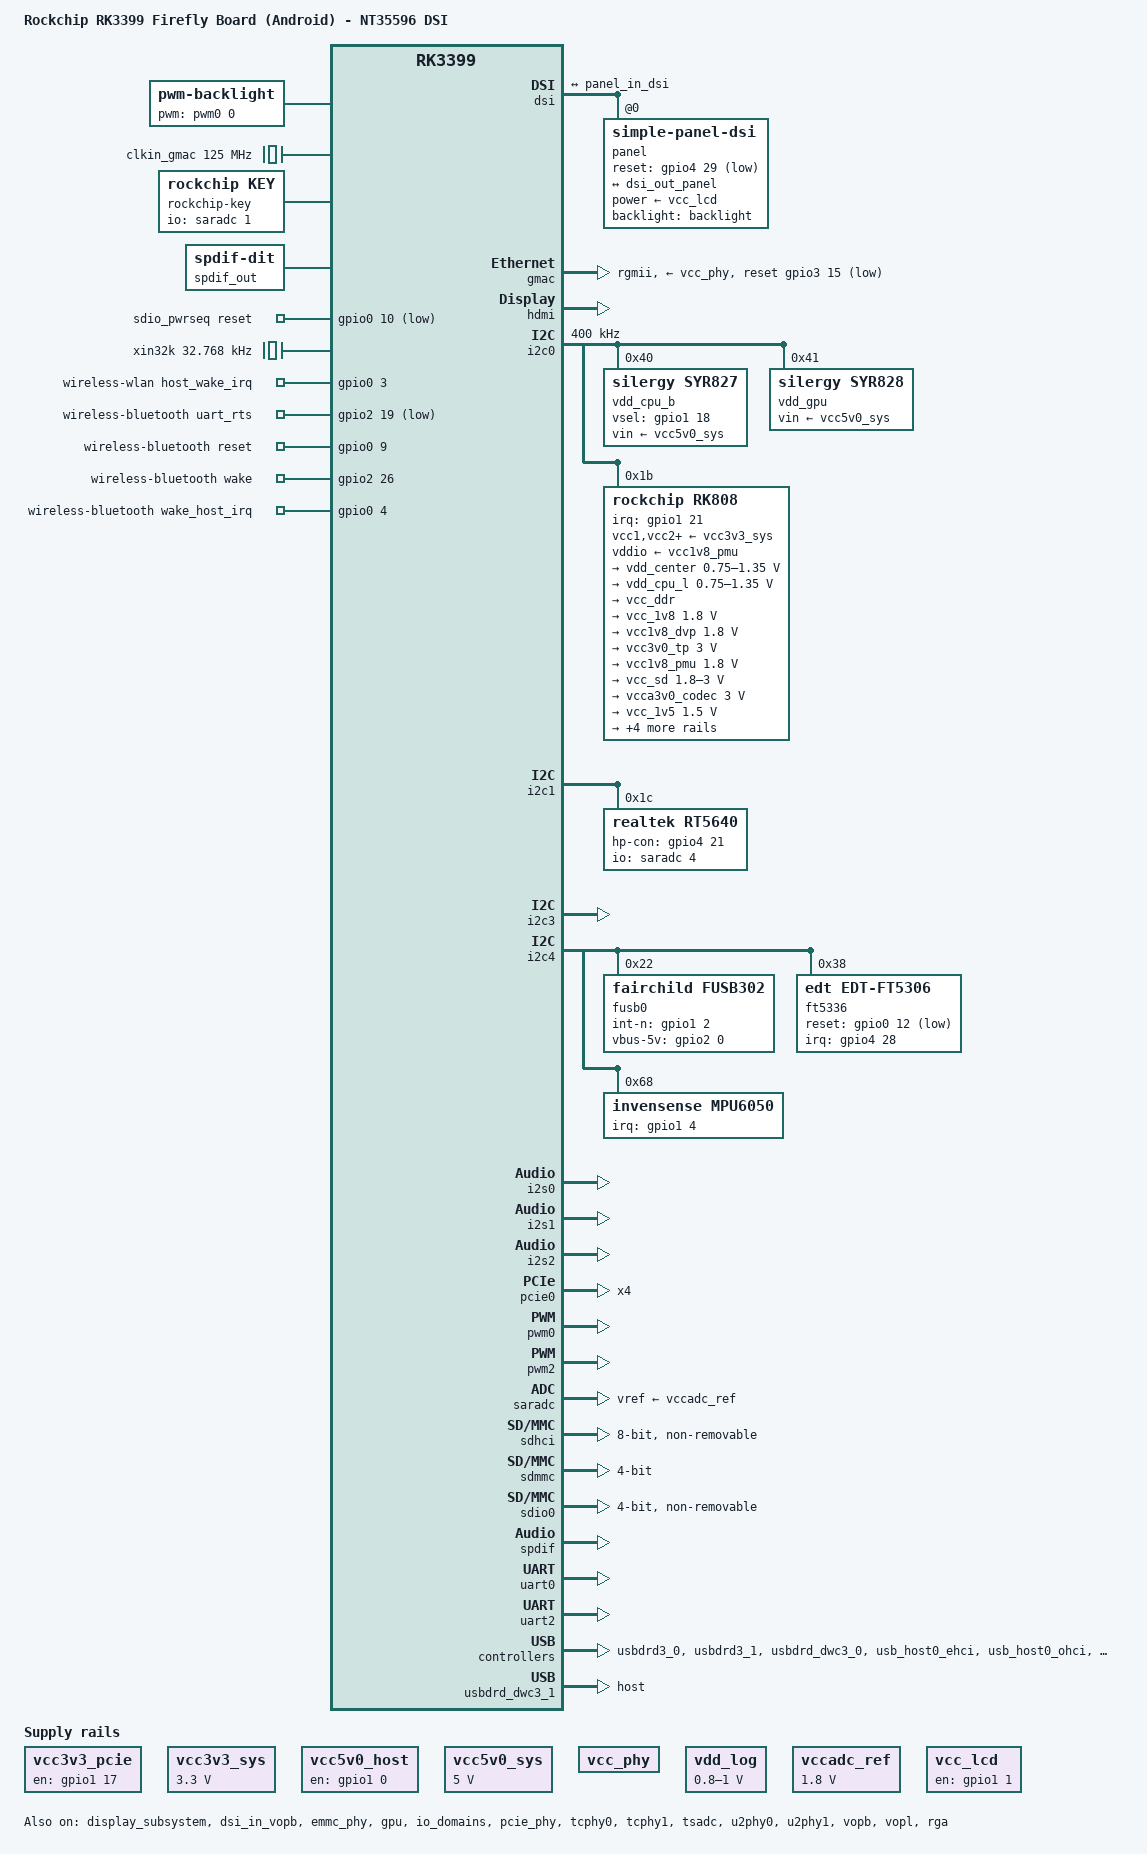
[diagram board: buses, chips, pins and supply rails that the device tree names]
// SPDX-License-Identifier: (GPL-2.0+ OR MIT)
/*
 * Firefly-RK3399 Android DTS with NT35596 MIPI DSI panel + FT5336 touchscreen
 * Based on rk3399-firefly-android.dts from Vicharak kernel
 * Replaces EDP panel with NT35596 MIPI DSI, replaces gsl3680 with FT5336
 */

/dts-v1/;

#include "dt-bindings/pwm/pwm.h"
#include "rk3399.dtsi"
#include "rk3399-opp.dtsi"
#include <dt-bindings/display/drm_mipi_dsi.h>
#include <dt-bindings/input/input.h>
#include "rk3399-vop-clk-set.dtsi"
#include "rk3399-android.dtsi"

/ {
	model = "Rockchip RK3399 Firefly Board (Android) - NT35596 DSI";
	compatible = "rockchip,rk3399-firefly-android", "rockchip,rk3399";

	chosen: chosen {
		bootargs = "earlycon=uart8250,mmio32,0xff1a0000 coherent_pool=1m";
	};

	cpuinfo {
		compatible = "rockchip,cpuinfo";
		nvmem-cells = <&cpu_id>;
		nvmem-cell-names = "id";
	};

	backlight: backlight {
		compatible = "pwm-backlight";
		pwms = <&pwm0 0 25000 0>;
		brightness-levels = <
			  0   1   2   3   4   5   6   7
			  8   9  10  11  12  13  14  15
			 16  17  18  19  20  21  22  23
			 24  25  26  27  28  29  30  31
			 32  33  34  35  36  37  38  39
			 40  41  42  43  44  45  46  47
			 48  49  50  51  52  53  54  55
			 56  57  58  59  60  61  62  63
			 64  65  66  67  68  69  70  71
			 72  73  74  75  76  77  78  79
			 80  81  82  83  84  85  86  87
			 88  89  90  91  92  93  94  95
			 96  97  98  99 100 101 102 103
			104 105 106 107 108 109 110 111
			112 113 114 115 116 117 118 119
			120 121 122 123 124 125 126 127
			128 129 130 131 132 133 134 135
			136 137 138 139 140 141 142 143
			144 145 146 147 148 149 150 151
			152 153 154 155 156 157 158 159
			160 161 162 163 164 165 166 167
			168 169 170 171 172 173 174 175
			176 177 178 179 180 181 182 183
			184 185 186 187 188 189 190 191
			192 193 194 195 196 197 198 199
			200 201 202 203 204 205 206 207
			208 209 210 211 212 213 214 215
			216 217 218 219 220 221 222 223
			224 225 226 227 228 229 230 231
			232 233 234 235 236 237 238 239
			240 241 242 243 244 245 246 247
			248 249 250 251 252 253 254 255>;
		default-brightness-level = <200>;
	};

	clkin_gmac: external-gmac-clock {
		compatible = "fixed-clock";
		clock-frequency = <125000000>;
		clock-output-names = "clkin_gmac";
		#clock-cells = <0>;
	};

	dw_hdmi_audio: dw-hdmi-audio {
		status = "okay";
		compatible = "rockchip,dw-hdmi-audio";
		#sound-dai-cells = <0>;
	};

	fiq_debugger: fiq-debugger {
		compatible = "rockchip,fiq-debugger";
		rockchip,serial-id = <2>;
		rockchip,wake-irq = <0>;
		rockchip,irq-mode-enable = <0>;
		rockchip,baudrate = <1500000>;
		pinctrl-names = "default";
		pinctrl-0 = <&uart2c_xfer>;
		interrupts = <GIC_SPI 150 IRQ_TYPE_LEVEL_HIGH 0>;
	};

	reserved-memory {
		#address-cells = <2>;
		#size-cells = <2>;
		ranges;

		drm_logo: drm-logo@0 {
			compatible = "rockchip,drm-logo";
			reg = <0x0 0x0 0x0 0x0>;
		};

		stb_devinfo: stb-devinfo@00000000 {
			compatible = "rockchip,stb-devinfo";
			reg = <0x0 0x0 0x0 0x0>;
		};

		ramoops: ramoops@110000 {
			compatible = "ramoops";
			reg = <0x0 0x110000 0x0 0xf0000>;
			record-size = <0x20000>;
			console-size = <0x80000>;
			ftrace-size = <0x00000>;
			pmsg-size = <0x50000>;
		};
	};

	rockchip-key {
		compatible = "rockchip,key";
		status = "okay";

		io-channels = <&saradc 1>;
		power-key {
			gpios = <&gpio0 5 GPIO_ACTIVE_LOW>;
			linux,code = <116>;
			label = "power";
			gpio-key,wakeup;
		};
	};

	rt5640-sound {
		compatible = "simple-audio-card";
		simple-audio-card,format = "i2s";
		simple-audio-card,name = "rockchip,rt5640-codec";
		simple-audio-card,mclk-fs = <256>;
		simple-audio-card,widgets =
			"Microphone", "Mic Jack",
			"Headphone", "Headphone Jack";
		simple-audio-card,routing =
			"Mic Jack", "MICBIAS1",
			"IN1P", "Mic Jack",
			"Headphone Jack", "HPOL",
			"Headphone Jack", "HPOR";
		simple-audio-card,cpu {
			sound-dai = <&i2s1>;
		};
		simple-audio-card,codec {
			sound-dai = <&rt5640>;
		};
	};

	hdmi_sound: hdmi-sound {
		status = "disabled";
		compatible = "simple-audio-card";
		simple-audio-card,format = "i2s";
		simple-audio-card,mclk-fs = <256>;
		simple-audio-card,name = "rockchip,hdmi";

		simple-audio-card,cpu {
			sound-dai = <&i2s2>;
		};
		simple-audio-card,codec {
			sound-dai = <&dw_hdmi_audio>;
		};
	};

	hdmi_codec: hdmi-codec {
		compatible = "simple-audio-card";
		simple-audio-card,format = "i2s";
		simple-audio-card,mclk-fs = <256>;
		simple-audio-card,name = "HDMI-CODEC";

		simple-audio-card,cpu {
			sound-dai = <&i2s2>;
		};

		simple-audio-card,codec {
			sound-dai = <&hdmi>;
		};
	};

	rga: rga@ff680000 {
		compatible = "rockchip,rga2";
		dev_mode = <1>;
		reg = <0x0 0xff680000 0x0 0x1000>;
		interrupts = <GIC_SPI 55 IRQ_TYPE_LEVEL_HIGH 0>;
		clocks = <&cru ACLK_RGA>, <&cru HCLK_RGA>, <&cru SCLK_RGA_CORE>;
		clock-names = "aclk_rga", "hclk_rga", "clk_rga";
		power-domains = <&power RK3399_PD_RGA>;
		dma-coherent;
		status = "okay";
	};

	spdif-sound {
		compatible = "simple-audio-card";
		status = "okay";

		simple-audio-card,name = "ROCKCHIP,SPDIF";
		simple-audio-card,mclk-fs = <128>;
		simple-audio-card,cpu {
			sound-dai = <&spdif>;
		};
		simple-audio-card,codec {
			sound-dai = <&spdif_out>;
		};
	};

	spdif_out: spdif-out {
		compatible = "linux,spdif-dit";
		status = "okay";

		#sound-dai-cells = <0>;
	};

	sdio_pwrseq: sdio-pwrseq {
		compatible = "mmc-pwrseq-simple";
		clocks = <&rk808 1>;
		clock-names = "ext_clock";
		pinctrl-names = "default";
		pinctrl-0 = <&wifi_enable_h>;

		reset-gpios = <&gpio0 10 GPIO_ACTIVE_LOW>;
	};

	vcc3v3_pcie: vcc3v3-pcie-regulator {
		compatible = "regulator-fixed";
		enable-active-high;
		regulator-always-on;
		regulator-boot-on;
		gpio = <&gpio1 17 GPIO_ACTIVE_HIGH>;
		pinctrl-names = "default";
		pinctrl-0 = <&pcie_drv>;
		regulator-name = "vcc3v3_pcie";
	};

	vcc3v3_sys: vcc3v3-sys {
		compatible = "regulator-fixed";
		regulator-name = "vcc3v3_sys";
		regulator-always-on;
		regulator-boot-on;
		regulator-min-microvolt = <3300000>;
		regulator-max-microvolt = <3300000>;
	};

	vcc5v0_host: vcc5v0-host-regulator {
		compatible = "regulator-fixed";
		enable-active-high;
		gpio = <&gpio1 0 GPIO_ACTIVE_HIGH>;
		pinctrl-names = "default";
		pinctrl-0 = <&host_vbus_drv>;
		regulator-name = "vcc5v0_host";
		regulator-always-on;
	};

	vcc5v0_sys: vcc5v0-sys {
		compatible = "regulator-fixed";
		regulator-name = "vcc5v0_sys";
		regulator-always-on;
		regulator-boot-on;
		regulator-min-microvolt = <5000000>;
		regulator-max-microvolt = <5000000>;
	};

	vcc_phy: vcc-phy-regulator {
		compatible = "regulator-fixed";
		regulator-name = "vcc_phy";
		regulator-always-on;
		regulator-boot-on;
	};

	vdd_log: vdd-log {
		compatible = "pwm-regulator";
		pwms = <&pwm2 0 25000 1>;
		regulator-name = "vdd_log";
		regulator-min-microvolt = <800000>;
		regulator-max-microvolt = <1000000>;
		regulator-always-on;
		regulator-boot-on;

		rockchip,pwm_id= <2>;
		rockchip,pwm_voltage = <900000>;
	};

	vccadc_ref: vccadc-ref {
		compatible = "regulator-fixed";
		regulator-name = "vcc1v8_sys";
		regulator-always-on;
		regulator-boot-on;
		regulator-min-microvolt = <1800000>;
		regulator-max-microvolt = <1800000>;
	};

	vcc_lcd: vcc-lcd-regulator {
		compatible = "regulator-fixed";
		regulator-always-on;
		regulator-boot-on;
		enable-active-high;
		gpio = <&gpio1 1 GPIO_ACTIVE_HIGH>;
		pinctrl-names = "default";
		pinctrl-0 = <&lcd_en>;
		regulator-name = "vcc_lcd";
	};

	xin32k: xin32k {
		compatible = "fixed-clock";
		clock-frequency = <32768>;
		clock-output-names = "xin32k";
		#clock-cells = <0>;
	};

	wireless-wlan {
		compatible = "wlan-platdata";
		rockchip,grf = <&grf>;
		wifi_chip_type = "ap6354";
		sdio_vref = <1800>;
		WIFI,host_wake_irq = <&gpio0 3 GPIO_ACTIVE_HIGH>;
		status = "okay";
	};

	wireless-bluetooth {
		compatible = "bluetooth-platdata";
		uart_rts_gpios = <&gpio2 19 GPIO_ACTIVE_LOW>;
		pinctrl-names = "default", "rts_gpio";
		pinctrl-0 = <&uart0_rts>;
		pinctrl-1 = <&uart0_gpios>;
		BT,reset_gpio    = <&gpio0 9 GPIO_ACTIVE_HIGH>;
		BT,wake_gpio     = <&gpio2 26 GPIO_ACTIVE_HIGH>;
		BT,wake_host_irq = <&gpio0 4 GPIO_ACTIVE_HIGH>;
		status = "okay";
	};
};

&cpu_l0 {
	cpu-supply = <&vdd_cpu_l>;
};

&cpu_l1 {
	cpu-supply = <&vdd_cpu_l>;
};

&cpu_l2 {
	cpu-supply = <&vdd_cpu_l>;
};

&cpu_l3 {
	cpu-supply = <&vdd_cpu_l>;
};

&cpu_b0 {
	cpu-supply = <&vdd_cpu_b>;
};

&cpu_b1 {
	cpu-supply = <&vdd_cpu_b>;
};

&display_subsystem {
	status = "okay";

	ports = <&vopb_out>, <&vopl_out>;
	logo-memory-region = <&drm_logo>;

	route {
		route_hdmi: route-hdmi {
			status = "okay";
			logo,uboot = "logo.bmp";
			logo,kernel = "logo_kernel.bmp";
			logo,mode = "fullscreen";
			charge_logo,mode = "center";
			connect = <&vopl_out_hdmi>;
		};

		route_dsi: route-dsi {
			status = "okay";
			logo,uboot = "logo.bmp";
			logo,kernel = "logo_kernel.bmp";
			logo,mode = "fullscreen";
			charge_logo,mode = "center";
			connect = <&vopb_out_dsi>;
		};
	};
};

/* MIPI DSI with NT35596 panel - replaces EDP */
&dsi {
	status = "okay";

	panel@0 {
		compatible = "simple-panel-dsi";
		reg = <0>;
		backlight = <&backlight>;
		power-supply = <&vcc_lcd>;
		reset-gpios = <&gpio4 29 GPIO_ACTIVE_LOW>;
		pinctrl-names = "default";
		pinctrl-0 = <&lcd_panel_reset>;

		reset-delay-ms = <20>;
		init-delay-ms = <150>;
		enable-delay-ms = <120>;
		prepare-delay-ms = <50>;

		dsi,flags = <(MIPI_DSI_MODE_VIDEO | MIPI_DSI_MODE_VIDEO_BURST | MIPI_DSI_CLOCK_NON_CONTINUOUS)>;
		dsi,format = <MIPI_DSI_FMT_RGB888>;
		dsi,lanes = <4>;

		panel-init-sequence = [
			15 00 02 ff ee
			15 00 02 fb 01
			15 0a 02 18 40
			15 0a 02 18 00
			15 00 02 ff ee
			15 00 02 fb 01
			15 00 02 24 4f
			15 00 02 38 c8
			15 00 02 39 27
			15 00 02 1e 77
			15 00 02 1d 0f
			15 00 02 7e 71
			15 00 02 7c 03
			15 00 02 ff 01
			15 00 02 fb 01
			15 00 02 00 01
			15 00 02 01 55
			15 00 02 02 40
			15 00 02 05 40
			15 00 02 06 4a
			15 00 02 07 24
			15 00 02 08 0c
			15 00 02 0b 7d
			15 00 02 0c 7d
			15 00 02 0e b0
			15 00 02 0f ae
			15 00 02 11 10
			15 00 02 12 10
			15 00 02 13 03
			15 00 02 14 4a
			15 00 02 15 12
			15 00 02 16 12
			15 00 02 18 00
			15 00 02 19 77
			15 00 02 1a 55
			15 00 02 1b 13
			15 00 02 1c 00
			15 00 02 1d 00
			15 00 02 1e 13
			15 00 02 1f 00
			15 00 02 23 00
			15 00 02 24 00
			15 00 02 25 00
			15 00 02 26 00
			15 00 02 27 00
			15 00 02 28 00
			15 00 02 35 00
			15 00 02 66 00
			15 00 02 58 82
			15 00 02 59 02
			15 00 02 5a 02
			15 00 02 5b 02
			15 00 02 5c 82
			15 00 02 5d 82
			15 00 02 5e 02
			15 00 02 5f 02
			15 00 02 72 31
			15 00 02 ff 05
			15 00 02 fb 01
			15 00 02 00 01
			15 00 02 01 0b
			15 00 02 02 0c
			15 00 02 03 09
			15 00 02 04 0a
			15 00 02 05 00
			15 00 02 06 0f
			15 00 02 07 10
			15 00 02 08 00
			15 00 02 09 00
			15 00 02 0a 00
			15 00 02 0b 00
			15 00 02 0c 00
			15 00 02 0d 13
			15 00 02 0e 15
			15 00 02 0f 17
			15 00 02 10 01
			15 00 02 11 0b
			15 00 02 12 0c
			15 00 02 13 09
			15 00 02 14 0a
			15 00 02 15 00
			15 00 02 16 0f
			15 00 02 17 10
			15 00 02 18 00
			15 00 02 19 00
			15 00 02 1a 00
			15 00 02 1b 00
			15 00 02 1c 00
			15 00 02 1d 13
			15 00 02 1e 15
			15 00 02 1f 17
			15 00 02 20 00
			15 00 02 21 03
			15 00 02 22 01
			15 00 02 23 40
			15 00 02 24 40
			15 00 02 25 ed
			15 00 02 29 58
			15 00 02 2a 12
			15 00 02 2b 01
			15 00 02 4b 06
			15 00 02 4c 11
			15 00 02 4d 20
			15 00 02 4e 02
			15 00 02 4f 02
			15 00 02 50 20
			15 00 02 51 61
			15 00 02 52 01
			15 00 02 53 63
			15 00 02 54 77
			15 00 02 55 ed
			15 00 02 5b 00
			15 00 02 5c 00
			15 00 02 5d 00
			15 00 02 5e 00
			15 00 02 5f 15
			15 00 02 60 75
			15 00 02 61 00
			15 00 02 62 00
			15 00 02 63 00
			15 00 02 64 00
			15 00 02 65 00
			15 00 02 66 00
			15 00 02 67 00
			15 00 02 68 04
			15 00 02 69 00
			15 00 02 6a 00
			15 00 02 6c 40
			15 00 02 75 01
			15 00 02 76 01
			15 00 02 7a 80
			15 00 02 7b a3
			15 00 02 7c d8
			15 00 02 7d 60
			15 00 02 7f 15
			15 00 02 80 81
			15 00 02 83 05
			15 00 02 93 08
			15 00 02 94 10
			15 00 02 8a 00
			15 00 02 9b 0f
			15 00 02 ff 01
			15 00 02 fb 01
			15 00 02 75 01
			15 00 02 76 20
			15 00 02 77 01
			15 00 02 78 15
			15 00 02 79 01
			15 00 02 7a 1b
			15 00 02 7b 01
			15 00 02 7c 22
			15 00 02 7d 01
			15 00 02 7e 29
			15 00 02 7f 01
			15 00 02 80 30
			15 00 02 81 01
			15 00 02 82 37
			15 00 02 83 01
			15 00 02 84 3e
			15 00 02 85 01
			15 00 02 86 44
			15 00 02 87 01
			15 00 02 88 5c
			15 00 02 89 01
			15 00 02 8a 73
			15 00 02 8b 01
			15 00 02 8c 9a
			15 00 02 8d 01
			15 00 02 8e bd
			15 00 02 8f 01
			15 00 02 90 f8
			15 00 02 91 02
			15 00 02 92 2a
			15 00 02 93 02
			15 00 02 94 2b
			15 00 02 95 02
			15 00 02 96 5a
			15 00 02 97 02
			15 00 02 98 90
			15 00 02 99 02
			15 00 02 9a b2
			15 00 02 9b 02
			15 00 02 9c e3
			15 00 02 9d 03
			15 00 02 9e 04
			15 00 02 9f 03
			15 00 02 a0 2e
			15 00 02 a2 03
			15 00 02 a3 3b
			15 00 02 a4 03
			15 00 02 a5 49
			15 00 02 a6 03
			15 00 02 a7 58
			15 00 02 a9 03
			15 00 02 aa 67
			15 00 02 ab 03
			15 00 02 ac 77
			15 00 02 ad 03
			15 00 02 ae 87
			15 00 02 af 03
			15 00 02 b0 9a
			15 00 02 b1 03
			15 00 02 b2 cb
			15 00 02 b3 01
			15 00 02 b4 20
			15 00 02 b5 01
			15 00 02 b6 15
			15 00 02 b7 01
			15 00 02 b8 1b
			15 00 02 b9 01
			15 00 02 ba 22
			15 00 02 bb 01
			15 00 02 bc 29
			15 00 02 bd 01
			15 00 02 be 30
			15 00 02 bf 01
			15 00 02 c0 37
			15 00 02 c1 01
			15 00 02 c2 3e
			15 00 02 c3 01
			15 00 02 c4 44
			15 00 02 c5 01
			15 00 02 c6 5c
			15 00 02 c7 01
			15 00 02 c8 73
			15 00 02 c9 01
			15 00 02 ca 9a
			15 00 02 cb 01
			15 00 02 cc bd
			15 00 02 cd 01
			15 00 02 ce f8
			15 00 02 cf 02
			15 00 02 d0 2a
			15 00 02 d1 02
			15 00 02 d2 2b
			15 00 02 d3 02
			15 00 02 d4 5a
			15 00 02 d5 02
			15 00 02 d6 90
			15 00 02 d7 02
			15 00 02 d8 b2
			15 00 02 d9 02
			15 00 02 da e3
			15 00 02 db 03
			15 00 02 dc 04
			15 00 02 dd 03
			15 00 02 de 2e
			15 00 02 df 03
			15 00 02 e0 3b
			15 00 02 e1 03
			15 00 02 e2 49
			15 00 02 e3 03
			15 00 02 e4 58
			15 00 02 e5 03
			15 00 02 e6 67
			15 00 02 e7 03
			15 00 02 e8 77
			15 00 02 e9 03
			15 00 02 ea 87
			15 00 02 eb 03
			15 00 02 ec 9a
			15 00 02 ed 03
			15 00 02 ee cb
			15 00 02 ef 00
			15 00 02 f0 f4
			15 00 02 f1 00
			15 00 02 f2 fc
			15 00 02 f3 01
			15 00 02 f4 01
			15 00 02 f5 01
			15 00 02 f6 09
			15 00 02 f7 01
			15 00 02 f8 11
			15 00 02 f9 01
			15 00 02 fa 19
			15 00 02 ff 02
			15 00 02 fb 01
			15 00 02 00 01
			15 00 02 01 20
			15 00 02 02 01
			15 00 02 03 28
			15 00 02 04 01
			15 00 02 05 2f
			15 00 02 06 01
			15 00 02 07 4a
			15 00 02 08 01
			15 00 02 09 62
			15 00 02 0a 01
			15 00 02 0b 8d
			15 00 02 0c 01
			15 00 02 0d b3
			15 00 02 0e 01
			15 00 02 0f f1
			15 00 02 10 02
			15 00 02 11 25
			15 00 02 12 02
			15 00 02 13 26
			15 00 02 14 02
			15 00 02 15 58
			15 00 02 16 02
			15 00 02 17 83
			15 00 02 18 02
			15 00 02 19 b0
			15 00 02 1a 02
			15 00 02 1b e0
			15 00 02 1c 03
			15 00 02 1d 02
			15 00 02 1e 03
			15 00 02 1f 2d
			15 00 02 20 03
			15 00 02 21 3a
			15 00 02 22 03
			15 00 02 23 47
			15 00 02 24 03
			15 00 02 25 56
			15 00 02 26 03
			15 00 02 27 66
			15 00 02 28 03
			15 00 02 29 77
			15 00 02 2a 03
			15 00 02 2b 88
			15 00 02 2d 03
			15 00 02 2f 90
			15 00 02 30 03
			15 00 02 31 cb
			15 00 02 32 00
			15 00 02 33 f4
			15 00 02 34 00
			15 00 02 35 fc
			15 00 02 36 01
			15 00 02 37 01
			15 00 02 38 01
			15 00 02 39 09
			15 00 02 3a 01
			15 00 02 3b 11
			15 00 02 3d 01
			15 00 02 3f 19
			15 00 02 40 01
			15 00 02 41 20
			15 00 02 42 01
			15 00 02 43 28
			15 00 02 44 01
			15 00 02 45 2f
			15 00 02 46 01
			15 00 02 47 4a
			15 00 02 48 01
			15 00 02 49 62
			15 00 02 4a 01
			15 00 02 4b 8d
			15 00 02 4c 01
			15 00 02 4d b3
			15 00 02 4e 01
			15 00 02 4f f1
			15 00 02 50 02
			15 00 02 51 25
			15 00 02 52 02
			15 00 02 53 26
			15 00 02 54 02
			15 00 02 55 58
			15 00 02 56 02
			15 00 02 58 8e
			15 00 02 59 02
			15 00 02 5a b0
			15 00 02 5b 02
			15 00 02 5c e0
			15 00 02 5d 03
			15 00 02 5e 02
			15 00 02 5f 03
			15 00 02 60 2d
			15 00 02 61 03
			15 00 02 62 3a
			15 00 02 63 03
			15 00 02 64 47
			15 00 02 65 03
			15 00 02 66 56
			15 00 02 67 03
			15 00 02 68 66
			15 00 02 69 03
			15 00 02 6a 77
			15 00 02 6b 03
			15 00 02 6c 88
			15 00 02 6d 03
			15 00 02 6e 90
			15 00 02 6f 03
			15 00 02 70 cb
			15 00 02 71 00
			15 00 02 72 00
			15 00 02 73 00
			15 00 02 74 0a
			15 00 02 75 00
			15 00 02 76 2a
			15 00 02 77 00
			15 00 02 78 41
			15 00 02 79 00
			15 00 02 7a 56
			15 00 02 7b 00
			15 00 02 7c 69
			15 00 02 7d 00
			15 00 02 7e 7a
			15 00 02 7f 00
			15 00 02 80 8a
			15 00 02 81 00
			15 00 02 82 98
			15 00 02 83 00
			15 00 02 84 cb
			15 00 02 85 00
			15 00 02 86 f5
			15 00 02 87 01
			15 00 02 88 38
			15 00 02 89 01
			15 00 02 8a 6e
			15 00 02 8b 01
			15 00 02 8c c2
			15 00 02 8d 02
			15 00 02 8e 03
			15 00 02 8f 02
			15 00 02 90 05
			15 00 02 91 02
			15 00 02 92 3d
			15 00 02 93 02
			15 00 02 94 75
			15 00 02 95 02
			15 00 02 96 98
			15 00 02 97 02
			15 00 02 98 c7
			15 00 02 99 02
			15 00 02 9a e8
			15 00 02 9b 03
			15 00 02 9c 14
			15 00 02 9d 03
			15 00 02 9e 21
			15 00 02 9f 03
			15 00 02 a0 30
			15 00 02 a2 03
			15 00 02 a3 41
			15 00 02 a4 03
			15 00 02 a5 53
			15 00 02 a6 03
			15 00 02 a7 68
			15 00 02 a9 03
			15 00 02 aa 80
			15 00 02 ab 03
			15 00 02 ac 90
			15 00 02 ad 03
			15 00 02 ae cb
			15 00 02 af 00
			15 00 02 b0 00
			15 00 02 b1 00
			15 00 02 b2 0a
			15 00 02 b3 00
			15 00 02 b4 2a
			15 00 02 b5 00
			15 00 02 b6 41
			15 00 02 b7 00
			15 00 02 b8 56
			15 00 02 b9 00
			15 00 02 ba 69
			15 00 02 bb 00
			15 00 02 bc 7a
			15 00 02 bd 00
			15 00 02 be 8a
			15 00 02 bf 00
			15 00 02 c0 98
			15 00 02 c1 00
			15 00 02 c2 cb
			15 00 02 c3 00
			15 00 02 c4 f5
			15 00 02 c5 01
			15 00 02 c6 38
			15 00 02 c7 01
			15 00 02 c8 6e
			15 00 02 c9 01
			15 00 02 ca c2
			15 00 02 cb 02
			15 00 02 cc 03
			15 00 02 cd 02
			15 00 02 ce 05
			15 00 02 cf 02
			15 00 02 d0 3d
			15 00 02 d1 02
			15 00 02 d2 75
			15 00 02 d3 02
			15 00 02 d4 98
			15 00 02 d5 02
			15 00 02 d6 c7
			15 00 02 d7 02
			15 00 02 d8 e8
			15 00 02 d9 03
			15 00 02 da 14
			15 00 02 db 03
			15 00 02 dc 21
			15 00 02 dd 03
			15 00 02 de 30
			15 00 02 df 03
			15 00 02 e0 41
			15 00 02 e1 03
			15 00 02 e2 53
			15 00 02 e3 03
			15 00 02 e4 68
			15 00 02 e5 03
			15 00 02 e6 80
			15 00 02 e7 03
			15 00 02 e8 90
			15 00 02 e9 03
			15 00 02 ea cb
			15 00 02 ff 01
			15 00 02 fb 01
			15 00 02 ff 02
			15 00 02 fb 01
			15 00 02 ff 04
			15 00 02 fb 01
			15 00 02 ff 00
			15 00 02 d3 14
			15 00 02 d4 0a
			15 00 02 ff 00
			15 00 02 34 00
			15 00 02 35 00
			05 96 01 11
			05 28 01 29
		];

		panel-exit-sequence = [
			05 3c 01 28
			05 10 01 10
		];

		display-timings {
			native-mode = <&timing0>;
			timing0: nt35596-1080x1920 {
				clock-frequency = <146484000>;
				hactive = <1080>;
				vactive = <1920>;
				hfront-porch = <132>;
				hback-porch = <32>;
				hsync-len = <8>;
				vfront-porch = <10>;
				vback-porch = <18>;
				vsync-len = <2>;
				hsync-active = <0>;
				vsync-active = <0>;
				de-active = <0>;
				pixelclk-active = <0>;
			};
		};

		ports {
			#address-cells = <1>;
			#size-cells = <0>;

			port@0 {
				reg = <0>;
				panel_in_dsi: endpoint {
					remote-endpoint = <&dsi_out_panel>;
				};
			};
		};
	};

	ports {
		#address-cells = <1>;
		#size-cells = <0>;

		port@1 {
			reg = <1>;
			dsi_out_panel: endpoint {
				remote-endpoint = <&panel_in_dsi>;
			};
		};
	};
};

&dsi_in_vopb {
	status = "okay";
};

&dsi_in_vopl {
	status = "disabled";
};

/* Disable EDP - using DSI instead */
&edp {
	status = "disabled";
};

&emmc_phy {
	status = "okay";
};

&gmac {
	phy-supply = <&vcc_phy>;
	phy-mode = "rgmii";
	clock_in_out = "input";
	snps,reset-gpio = <&gpio3 15 GPIO_ACTIVE_LOW>;
	snps,reset-active-low;
	snps,reset-delays-us = <0 10000 50000>;
	assigned-clocks = <&cru SCLK_RMII_SRC>;
	assigned-clock-parents = <&clkin_gmac>;
	pinctrl-names = "default";
	pinctrl-0 = <&rgmii_pins>;
	tx_delay = <0x28>;
	rx_delay = <0x11>;
	status = "okay";
};

&gpu {
	status = "okay";
	mali-supply = <&vdd_gpu>;
};

&hdmi {
	#address-cells = <1>;
	#size-cells = <0>;
	#sound-dai-cells = <0>;
	status = "okay";
};

&i2c0 {
	status = "okay";
	i2c-scl-rising-time-ns = <168>;
	i2c-scl-falling-time-ns = <4>;
	clock-frequency = <400000>;

	vdd_cpu_b: syr827@40 {
		compatible = "silergy,syr827";
		reg = <0x40>;
		vin-supply = <&vcc5v0_sys>;
		regulator-compatible = "fan53555-reg";
		regulator-name = "vdd_cpu_b";
		regulator-min-microvolt = <712500>;
		regulator-max-microvolt = <1500000>;
		regulator-ramp-delay = <1000>;
		vsel-gpios = <&gpio1 18 GPIO_ACTIVE_HIGH>;
		fcs,suspend-voltage-selector = <1>;
		regulator-always-on;
		regulator-boot-on;
		regulator-initial-state = <3>;
			regulator-state-mem {
			regulator-off-in-suspend;
		};
	};

	vdd_gpu: syr828@41 {
		compatible = "silergy,syr828";
		reg = <0x41>;
		vin-supply = <&vcc5v0_sys>;
		regulator-compatible = "fan53555-reg";
		regulator-name = "vdd_gpu";
		regulator-min-microvolt = <712500>;
		regulator-max-microvolt = <1500000>;
		regulator-ramp-delay = <1000>;
		fcs,suspend-voltage-selector = <1>;
		regulator-always-on;
		regulator-boot-on;
		regulator-initial-state = <3>;
			regulator-state-mem {
			regulator-off-in-suspend;
		};
	};

	rk808: pmic@1b {
		compatible = "rockchip,rk808";
		reg = <0x1b>;
		interrupt-parent = <&gpio1>;
		interrupts = <21 IRQ_TYPE_LEVEL_LOW>;
		pinctrl-names = "default";
		pinctrl-0 = <&pmic_int_l &pmic_dvs2>;
		rockchip,system-power-controller;
		wakeup-source;
		#clock-cells = <1>;
		clock-output-names = "rk808-clkout1", "rk808-clkout2";

		vcc1-supply = <&vcc3v3_sys>;
		vcc2-supply = <&vcc3v3_sys>;
		vcc3-supply = <&vcc3v3_sys>;
		vcc4-supply = <&vcc3v3_sys>;
		vcc6-supply = <&vcc3v3_sys>;
		vcc7-supply = <&vcc3v3_sys>;
		vcc8-supply = <&vcc3v3_sys>;
		vcc9-supply = <&vcc3v3_sys>;
		vcc10-supply = <&vcc3v3_sys>;
		vcc11-supply = <&vcc3v3_sys>;
		vcc12-supply = <&vcc3v3_sys>;
		vddio-supply = <&vcc1v8_pmu>;

		regulators {
			vdd_center: DCDC_REG1 {
				regulator-always-on;
				regulator-boot-on;
				regulator-min-microvolt = <750000>;
				regulator-max-microvolt = <1350000>;
				regulator-ramp-delay = <6001>;
				regulator-name = "vdd_center";
				regulator-state-mem {
					regulator-off-in-suspend;
				};
			};

			vdd_cpu_l: DCDC_REG2 {
				regulator-always-on;
				regulator-boot-on;
				regulator-min-microvolt = <750000>;
				regulator-max-microvolt = <1350000>;
				regulator-ramp-delay = <6001>;
				regulator-name = "vdd_cpu_l";
				regulator-state-mem {
					regulator-off-in-suspend;
				};
			};

			vcc_ddr: DCDC_REG3 {
				regulator-always-on;
				regulator-boot-on;
				regulator-name = "vcc_ddr";
				regulator-state-mem {
					regulator-on-in-suspend;
				};
			};

			vcc_1v8: DCDC_REG4 {
				regulator-always-on;
				regulator-boot-on;
				regulator-min-microvolt = <1800000>;
				regulator-max-microvolt = <1800000>;
				regulator-name = "vcc_1v8";
				regulator-state-mem {
					regulator-on-in-suspend;
					regulator-suspend-microvolt = <1800000>;
				};
			};

			vcc1v8_dvp: LDO_REG1 {
				regulator-always-on;
				regulator-boot-on;
				regulator-min-microvolt = <1800000>;
				regulator-max-microvolt = <1800000>;
				regulator-name = "vcc1v8_dvp";
				regulator-state-mem {
					regulator-off-in-suspend;
				};
			};

			vcc3v0_tp: LDO_REG2 {
				regulator-always-on;
				regulator-boot-on;
				regulator-min-microvolt = <3000000>;
				regulator-max-microvolt = <3000000>;
				regulator-name = "vcc3v0_tp";
				regulator-state-mem {
					regulator-off-in-suspend;
				};
			};

			vcc1v8_pmu: LDO_REG3 {
				regulator-always-on;
				regulator-boot-on;
				regulator-min-microvolt = <1800000>;
				regulator-max-microvolt = <1800000>;
				regulator-name = "vcc1v8_pmu";
				regulator-state-mem {
					regulator-on-in-suspend;
					regulator-suspend-microvolt = <1800000>;
				};
			};

			vcc_sd: LDO_REG4 {
				regulator-always-on;
				regulator-boot-on;
				regulator-min-microvolt = <1800000>;
				regulator-max-microvolt = <3000000>;
				regulator-name = "vcc_sd";
				regulator-state-mem {
					regulator-on-in-suspend;
					regulator-suspend-microvolt = <3000000>;
				};
			};

			vcca3v0_codec: LDO_REG5 {
				regulator-always-on;
				regulator-boot-on;
				regulator-min-microvolt = <3000000>;
				regulator-max-microvolt = <3000000>;
				regulator-name = "vcca3v0_codec";
				regulator-state-mem {
					regulator-off-in-suspend;
				};
			};

			vcc_1v5: LDO_REG6 {
				regulator-always-on;
				regulator-boot-on;
				regulator-min-microvolt = <1500000>;
				regulator-max-microvolt = <1500000>;
				regulator-name = "vcc_1v5";
				regulator-state-mem {
					regulator-on-in-suspend;
					regulator-suspend-microvolt = <1500000>;
				};
			};

			vcca1v8_codec: LDO_REG7 {
				regulator-always-on;
				regulator-boot-on;
				regulator-min-microvolt = <1800000>;
				regulator-max-microvolt = <1800000>;
				regulator-name = "vcca1v8_codec";
				regulator-state-mem {
					regulator-off-in-suspend;
				};
			};

			vcc_3v0: LDO_REG8 {
				regulator-always-on;
				regulator-boot-on;
				regulator-min-microvolt = <3000000>;
				regulator-max-microvolt = <3000000>;
				regulator-name = "vcc_3v0";
				regulator-state-mem {
					regulator-on-in-suspend;
					regulator-suspend-microvolt = <3000000>;
				};
			};

			vcc3v3_s3: SWITCH_REG1 {
				regulator-always-on;
				regulator-boot-on;
				regulator-name = "vcc3v3_s3";
				regulator-state-mem {
					regulator-off-in-suspend;
				};
			};

			vcc3v3_s0: SWITCH_REG2 {
				regulator-always-on;
				regulator-boot-on;
				regulator-name = "vcc3v3_s0";
				regulator-state-mem {
					regulator-off-in-suspend;
				};
			};
		};
	};
};

&i2c1 {
	status = "okay";
	i2c-scl-rising-time-ns = <300>;
	i2c-scl-falling-time-ns = <15>;

	rt5640: rt5640@1c {
		#sound-dai-cells = <0>;
		compatible = "realtek,rt5640";
		reg = <0x1c>;
		clocks = <&cru SCLK_I2S_8CH_OUT>;
		clock-names = "mclk";
		realtek,in1-differential;
		pinctrl-names = "default";
		pinctrl-0 = <&rt5640_hpcon &i2s_8ch_mclk>;
		hp-con-gpio = <&gpio4 21 GPIO_ACTIVE_HIGH>;
		io-channels = <&saradc 4>;
		hp-det-adc-value = <500>;
		status = "okay";
	};
};

&i2c3 {
	status = "okay";
	i2c-scl-rising-time-ns = <450>;
	i2c-scl-falling-time-ns = <15>;
};

/* FT5336 touchscreen - replaces gsl3680 */
&i2c4 {
	status = "okay";
	i2c-scl-rising-time-ns = <600>;
	i2c-scl-falling-time-ns = <20>;

	fusb0: fusb30x@22 {
		compatible = "fairchild,fusb302";
		reg = <0x22>;
		pinctrl-names = "default";
		pinctrl-0 = <&fusb0_int>;
		int-n-gpios = <&gpio1 2 GPIO_ACTIVE_HIGH>;
		vbus-5v-gpios = <&gpio2 0 GPIO_ACTIVE_HIGH>;
		status = "okay";
	};

	ft5336: ft5336@38 {
		compatible = "edt,edt-ft5306";
		reg = <0x38>;
		interrupt-parent = <&gpio4>;
		interrupts = <28 IRQ_TYPE_EDGE_FALLING>;
		reset-gpios = <&gpio0 12 GPIO_ACTIVE_LOW>;
		touchscreen-size-x = <1920>;
		touchscreen-size-y = <1080>;
		touchscreen-swapped-x-y;
		status = "okay";
	};

	mpu6050: mpu@68 {
		compatible = "invensense,mpu6050";
		reg = <0x68>;
		mpu-int_config = <0x10>;
		mpu-level_shifter = <0>;
		mpu-orientation = <0 1 0 1 0 0 0 0 1>;
		orientation-x= <1>;
		orientation-y= <1>;
		orientation-z= <1>;
		irq-gpio = <&gpio1 4 IRQ_TYPE_LEVEL_LOW>;
		mpu-debug = <1>;
		status = "okay";
	};
};

&i2s0 {
	status = "okay";
	rockchip,i2s-broken-burst-len;
	rockchip,playback-channels = <8>;
	rockchip,capture-channels = <8>;
	#sound-dai-cells = <0>;
};

&i2s1 {
	status = "okay";
	rockchip,i2s-broken-burst-len;
	rockchip,playback-channels = <2>;
	rockchip,capture-channels = <2>;
	#sound-dai-cells = <0>;
};

&i2s2 {
	#sound-dai-cells = <0>;
	status = "okay";
};

&io_domains {
	status = "okay";

	bt656-supply = <&vcc1v8_dvp>;
	audio-supply = <&vcca1v8_codec>;
	sdmmc-supply = <&vcc_sd>;
	gpio1830-supply = <&vcc_3v0>;
};

&pcie_phy {
	status = "okay";
};

&pcie0 {
	ep-gpios = <&gpio4 25 GPIO_ACTIVE_HIGH>;
	num-lanes = <4>;
	pinctrl-names = "default";
	pinctrl-0 = <&pcie_clkreqn_cpm>;
	status = "okay";
};

&pmu_io_domains {
	status = "okay";
	pmu1830-supply = <&vcc_3v0>;
};

&pinctrl {

	lcd-panel {
		lcd_panel_reset: lcd-panel-reset {
			rockchip,pins = <4 RK_PD5 RK_FUNC_GPIO &pcfg_pull_up>;
		};

		lcd_en: lcd-en {
			rockchip,pins = <1 RK_PA1 RK_FUNC_GPIO &pcfg_pull_up>;
		};
	};

	pcie {
		pcie_drv: pcie-drv {
			rockchip,pins =
				<1 RK_PC1 RK_FUNC_GPIO &pcfg_pull_none>;
			};
			pcie_3g_drv: pcie-3g-drv {
			rockchip,pins =
				<0 RK_PA2 RK_FUNC_GPIO &pcfg_pull_up>;
		};
	};

	pmic {
		vsel1_gpio: vsel1-gpio {
			rockchip,pins =
				<1 RK_PC2 RK_FUNC_GPIO &pcfg_pull_down>;
		};

		vsel2_gpio: vsel2-gpio {
			rockchip,pins =
			<1 RK_PB6 RK_FUNC_GPIO &pcfg_pull_down>;
		};
	};

	sdio-pwrseq {
		wifi_enable_h: wifi-enable-h {
			rockchip,pins =
				<0 RK_PB2 RK_FUNC_GPIO &pcfg_pull_none>;
		};
	};

	wireless-bluetooth {
		uart0_gpios: uart0-gpios {
			rockchip,pins =
				<2 RK_PC3 RK_FUNC_GPIO &pcfg_pull_none>;
		};
	};

	rt5640 {
		rt5640_hpcon: rt5640-hpcon {
			rockchip,pins = <4 RK_PC5 RK_FUNC_GPIO &pcfg_pull_none>;
		};
	};

	pmic {
		pmic_int_l: pmic-int-l {
			rockchip,pins =
				<1 RK_PC5 RK_FUNC_GPIO &pcfg_pull_up>;
		};

		pmic_dvs2: pmic-dvs2 {
			rockchip,pins =
				<1 RK_PC2 RK_FUNC_GPIO &pcfg_pull_down>;
		};
	};

	usb2 {
		host_vbus_drv: host-vbus-drv {
			rockchip,pins =
				<4 RK_PD1 RK_FUNC_GPIO &pcfg_pull_none>;
		};
	};

	fusb30x {
		fusb0_int: fusb0-int {
			rockchip,pins = <1 RK_PA2 RK_FUNC_GPIO &pcfg_pull_up>;
		};
	};

	touch {
		touch_irq: touch-irq {
			rockchip,pins = <4 RK_PD4 RK_FUNC_GPIO &pcfg_pull_up>;
		};
		touch_rst: touch-rst {
			rockchip,pins = <0 RK_PB4 RK_FUNC_GPIO &pcfg_pull_none>;
		};
	};
};

&pwm0 {
	status = "okay";
};

&pwm2 {
	status = "okay";
	pinctrl-names = "active";
	pinctrl-0 = <&pwm2_pin_pull_down>;
};

&rockchip_suspend {
	rockchip,power-ctrl =
		<&gpio1 18 GPIO_ACTIVE_LOW>,
		<&gpio1 14 GPIO_ACTIVE_HIGH>;
};

&saradc {
	status = "okay";
	vref-supply = <&vccadc_ref>;
};

&sdhci {
	bus-width = <8>;
	keep-power-in-suspend;
	mmc-hs400-1_8v;
	mmc-hs400-enhanced-strobe;
	non-removable;
	status = "okay";
	no-sdio;
	no-sd;
};

&sdmmc {
	max-frequency = <150000000>;
	no-sdio;
	no-mmc;
	bus-width = <4>;
	cap-mmc-highspeed;
	cap-sd-highspeed;
	disable-wp;
	num-slots = <1>;
	vqmmc-supply = <&vcc_sd>;
	pinctrl-names = "default";
	pinctrl-0 = <&sdmmc_clk &sdmmc_cmd &sdmmc_cd &sdmmc_bus4>;
	status = "okay";
};

&sdio0 {
	max-frequency = <50000000>;
	no-sd;
	no-mmc;
	bus-width = <4>;
	disable-wp;
	cap-sd-highspeed;
	keep-power-in-suspend;
	mmc-pwrseq = <&sdio_pwrseq>;
	non-removable;
	num-slots = <1>;
	pinctrl-names = "default";
	pinctrl-0 = <&sdio0_bus4 &sdio0_cmd &sdio0_clk>;
	sd-uhs-sdr104;
	status = "okay";
};

&spdif {
	status = "okay";
	pinctrl-0 = <&spdif_bus_1>;
	i2c-scl-rising-time-ns = <450>;
	i2c-scl-falling-time-ns = <15>;
	#sound-dai-cells = <0>;
};

&tcphy0 {
	extcon = <&fusb0>;
	status = "okay";
};

&tcphy1 {
	status = "okay";
};

&tsadc {
	rockchip,hw-tshut-mode = <1>;
	rockchip,hw-tshut-polarity = <1>;
	status = "okay";
};

&u2phy0 {
	status = "okay";
	extcon = <&fusb0>;

	u2phy0_otg: otg-port {
		status = "okay";
	};

	u2phy0_host: host-port {
		phy-supply = <&vcc5v0_host>;
		status = "okay";
	};
};

&u2phy1 {
	status = "okay";

	u2phy1_otg: otg-port {
		status = "okay";
	};

	u2phy1_host: host-port {
		phy-supply = <&vcc5v0_host>;
		status = "okay";
	};
};

&uart0 {
	pinctrl-names = "default";
	pinctrl-0 = <&uart0_xfer &uart0_cts>;
	status = "okay";
};

&uart2 {
	status = "okay";
};

&usbdrd3_0 {
	status = "okay";
};

&usbdrd3_1 {
	status = "okay";
};

&usbdrd_dwc3_0 {
	status = "okay";
	extcon = <&fusb0>;
};

&usbdrd_dwc3_1 {
	status = "okay";
	dr_mode = "host";
};

&usb_host0_ehci {
	status = "okay";
};

&usb_host0_ohci {
	status = "okay";
};

&usb_host1_ehci {
	status = "okay";
};

&usb_host1_ohci {
	status = "okay";
};

&vopb {
	status = "okay";
};

&vopb_mmu {
	status = "okay";
};

&vopl {
	status = "okay";
};

&vopl_mmu {
	status = "okay";
};
